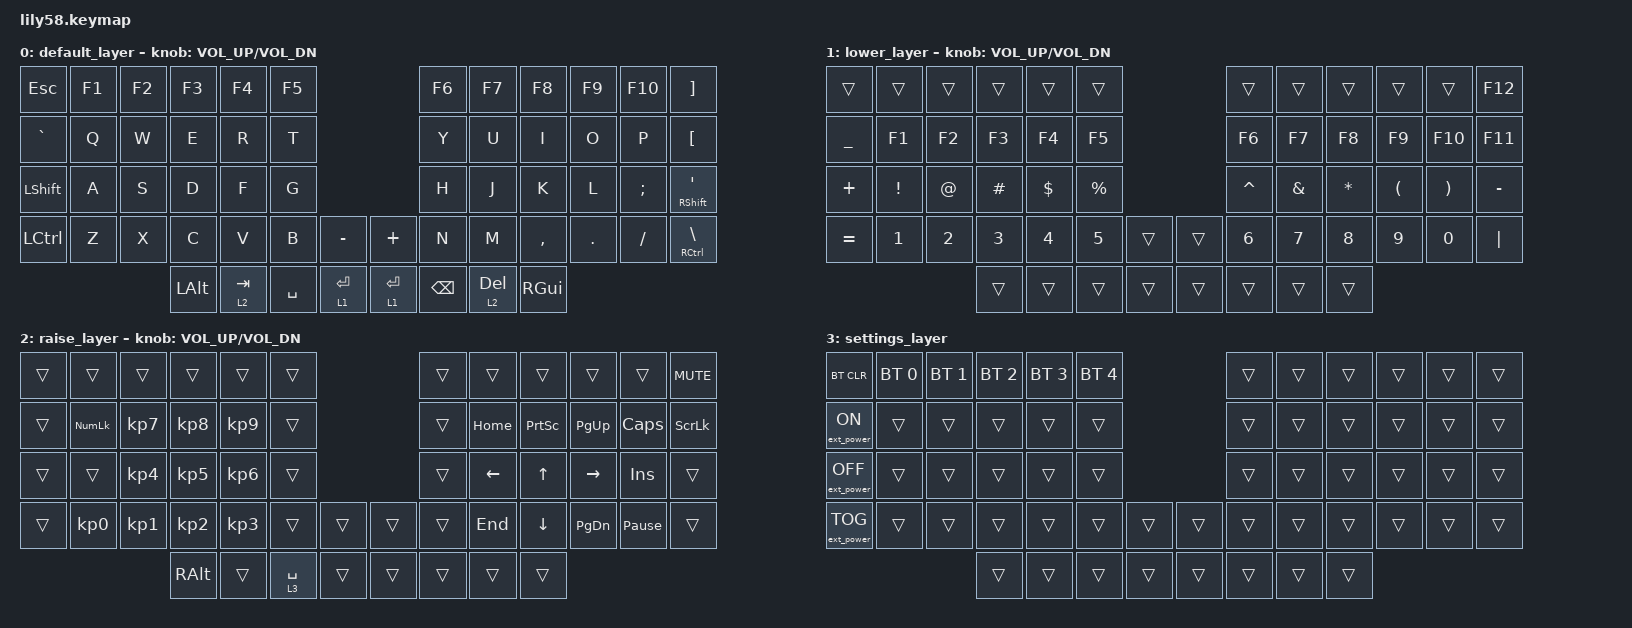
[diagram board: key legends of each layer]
/*
 * Copyright (c) 2020 The ZMK Contributors
 *
 * SPDX-License-Identifier: MIT
 */

#include <behaviors.dtsi>
#include <dt-bindings/zmk/bt.h>
#include <dt-bindings/zmk/ext_power.h>
#include <dt-bindings/zmk/keys.h>

&lt { quick-tap-ms = <160>; };

&mt { quick-tap-ms = <160>; };

/ {
    combos {
        compatible = "zmk,combos";

        rtBracket {
            bindings = <&kp LEFT_BRACKET>;
            key-positions = <17 16>;
            timeout-ms = <25>;
            require-prior-idle-ms = <25>;
        };

        yuBracket {
            bindings = <&kp RIGHT_BRACKET>;
            key-positions = <18 19>;
            timeout-ms = <25>;
            require-prior-idle-ms = <25>;
        };

        fgParenthesis {
            bindings = <&kp LEFT_PARENTHESIS>;
            key-positions = <28 29>;
            timeout-ms = <25>;
            require-prior-idle-ms = <25>;
        };

        hjParenthesis {
            bindings = <&kp RIGHT_PARENTHESIS>;
            key-positions = <30 31>;
            timeout-ms = <25>;
            require-prior-idle-ms = <25>;
        };

        vbBrace {
            bindings = <&kp LEFT_BRACE>;
            key-positions = <40 41>;
            timeout-ms = <25>;
            require-prior-idle-ms = <25>;
        };

        nmBrace {
            bindings = <&kp RIGHT_BRACE>;
            key-positions = <44 45>;
            timeout-ms = <25>;
            require-prior-idle-ms = <25>;
        };

        minus {
            bindings = <&kp MINUS>;
            key-positions = <4 5>;
            timeout-ms = <25>;
            require-prior-idle-ms = <25>;
        };

        plus {
            bindings = <&kp PLUS>;
            key-positions = <6 7>;
            timeout-ms = <25>;
            require-prior-idle-ms = <25>;
        };

        f11 {
            bindings = <&kp F11>;
            key-positions = <9 10>;
            timeout-ms = <25>;
            require-prior-idle-ms = <25>;
        };

        f12 {
            bindings = <&kp F12>;
            key-positions = <10 11>;
            timeout-ms = <25>;
            require-prior-idle-ms = <25>;
        };
    };

    keymap {
        compatible = "zmk,keymap";

        default_layer {
            // ------------------------------------------------------------------------------------------------------------
            // |  ESC  |  1  |  2  |  3   |  4   |  5   |                   |  6   |  7    |  8    |  9   |   0   |   `   |
            // |  TAB  |  Q  |  W  |  E   |  R   |  T   |                   |  Y   |  U    |  I    |  O   |   P   |   -   |
            // |  CTRL |  A  |  S  |  D   |  F   |  G   |                   |  H   |  J    |  K    |  L   |   ;   |   '   |
            // | SHIFT |  Z  |  X  |  C   |  V   |  B   |   "["  |  |  "]"  |  N   |  M    |  ,    |  .   |   /   | SHIFT |
            //                     | ALT  | GUI  | LOWER|  SPACE |  | ENTER | RAISE| BSPC  | GUI   |

            bindings = <
&kp ESC           &kp F1  &kp F2  &kp F3    &kp F4     &kp F5                             &kp F6         &kp F7     &kp F8     &kp F9   &kp F10   &kp RIGHT_BRACKET
&kp GRAVE         &kp Q   &kp W   &kp E     &kp R      &kp T                              &kp Y          &kp U      &kp I      &kp O    &kp P     &kp LEFT_BRACKET
&kp LSHFT         &kp A   &kp S   &kp D     &kp F      &kp G                              &kp H          &kp J      &kp K      &kp L    &kp SEMI  &mt RSHFT SQT
&kp LEFT_CONTROL  &kp Z   &kp X   &kp C     &kp V      &kp B      &kp MINUS    &kp PLUS   &kp N          &kp M      &kp COMMA  &kp DOT  &kp FSLH  &mt RCTRL BACKSLASH
                                  &kp LALT  &lt 2 TAB  &kp SPACE  &lt 1 RET    &lt 1 RET  &kp BACKSPACE  &lt 2 DEL  &kp RGUI
            >;

            sensor-bindings = <&inc_dec_kp C_VOL_UP C_VOL_DN>;
        };

        lower_layer {
            // ------------------------------------------------------------------------------------------------------------
            // | BTCLR | BT1 | BT2 |  BT3 |  BT4 |  BT5 |                   |      |       |       |      |       |       |
            // |  F1   |  F2 |  F3 |  F4  |  F5  |  F6  |                   |  F7  |  F8   |  F9   |  F10 |  F11  |  F12  |
            // |   `   |  !  |  @  |  #   |  $   |  %   |                   |  ^   |  &    |  *    |  (   |   )   |   ~   |
            // |       |     |     |      |      |      |        |  |       |      |  _    |  +    |  {   |   }   |  "|"  |
            //                     |      |      |      |        |  |       |      |       |       |

            bindings = <
&trans     &trans        &trans        &trans        &trans        &trans                          &trans        &trans        &trans        &trans        &trans        &kp F12
&kp UNDER  &kp F1        &kp F2        &kp F3        &kp F4        &kp F5                          &kp F6        &kp F7        &kp F8        &kp F9        &kp F10       &kp F11
&kp PLUS   &kp EXCL      &kp AT        &kp HASH      &kp DOLLAR    &kp PRCNT                       &kp CARET     &kp AMPS      &kp ASTRK     &kp LPAR      &kp RPAR      &kp MINUS
&kp EQUAL  &kp NUMBER_1  &kp NUMBER_2  &kp NUMBER_3  &kp NUMBER_4  &kp NUMBER_5  &trans    &trans  &kp NUMBER_6  &kp NUMBER_7  &kp NUMBER_8  &kp NUMBER_9  &kp NUMBER_0  &kp PIPE
                                       &trans        &trans        &trans        &trans    &trans  &trans        &trans        &trans
            >;

            sensor-bindings = <&inc_dec_kp C_VOL_UP C_VOL_DN>;
        };

        raise_layer {
            // ------------------------------------------------------------------------------------------------------------
            // |       |     |     |      |      |      |                   |      |       |       |      |       |       |
            // |   `   |  1  |  2  |  3   |  4   |  5   |                   |  6   |   7   |   8   |  9   |   0   |       |
            // |   F1  |  F2 |  F3 |  F4  |  F5  |  F6  |                   |      |   <-  |   v   |  ^   |  ->   |       |
            // |   F7  |  F8 |  F9 |  F10 |  F11 |  F12 |        |  |       |  +   |   -   |   =   |  [   |   ]   |   \   |
            //                     |      |      |      |        |  |       |      |       |       |

            bindings = <
&trans  &trans           &trans           &trans           &trans           &trans                         &trans  &trans    &trans           &trans         &trans           &kp C_MUTE
&trans  &kp KP_NUMLOCK   &kp KP_NUMBER_7  &kp KP_NUMBER_8  &kp KP_NUMBER_9  &trans                         &trans  &kp HOME  &kp PRINTSCREEN  &kp PAGE_UP    &kp CAPS         &kp SCROLLLOCK
&trans  &trans           &kp KP_NUMBER_4  &kp KP_NUMBER_5  &kp KP_NUMBER_6  &trans                         &trans  &kp LEFT  &kp UP_ARROW     &kp RIGHT      &kp INS          &trans
&trans  &kp KP_NUMBER_0  &kp KP_NUMBER_1  &kp KP_NUMBER_2  &kp KP_NUMBER_3  &trans       &trans    &trans  &trans  &kp END   &kp DOWN         &kp PAGE_DOWN  &kp PAUSE_BREAK  &trans
                                          &kp RALT         &trans           &lt 3 SPACE  &trans    &trans  &trans  &trans    &trans
            >;

            sensor-bindings = <&inc_dec_kp C_VOL_UP C_VOL_DN>;
        };

        settings_layer {
            bindings = <
&bt BT_CLR         &bt BT_SEL 0  &bt BT_SEL 1  &bt BT_SEL 2  &bt BT_SEL 3  &bt BT_SEL 4                    &trans  &trans  &trans  &trans  &trans  &trans
&ext_power EP_ON   &trans        &trans        &trans        &trans        &trans                          &trans  &trans  &trans  &trans  &trans  &trans
&ext_power EP_OFF  &trans        &trans        &trans        &trans        &trans                          &trans  &trans  &trans  &trans  &trans  &trans
&ext_power EP_TOG  &trans        &trans        &trans        &trans        &trans        &trans    &trans  &trans  &trans  &trans  &trans  &trans  &trans
                                               &trans        &trans        &trans        &trans    &trans  &trans  &trans  &trans
            >;
        };
    };
};
